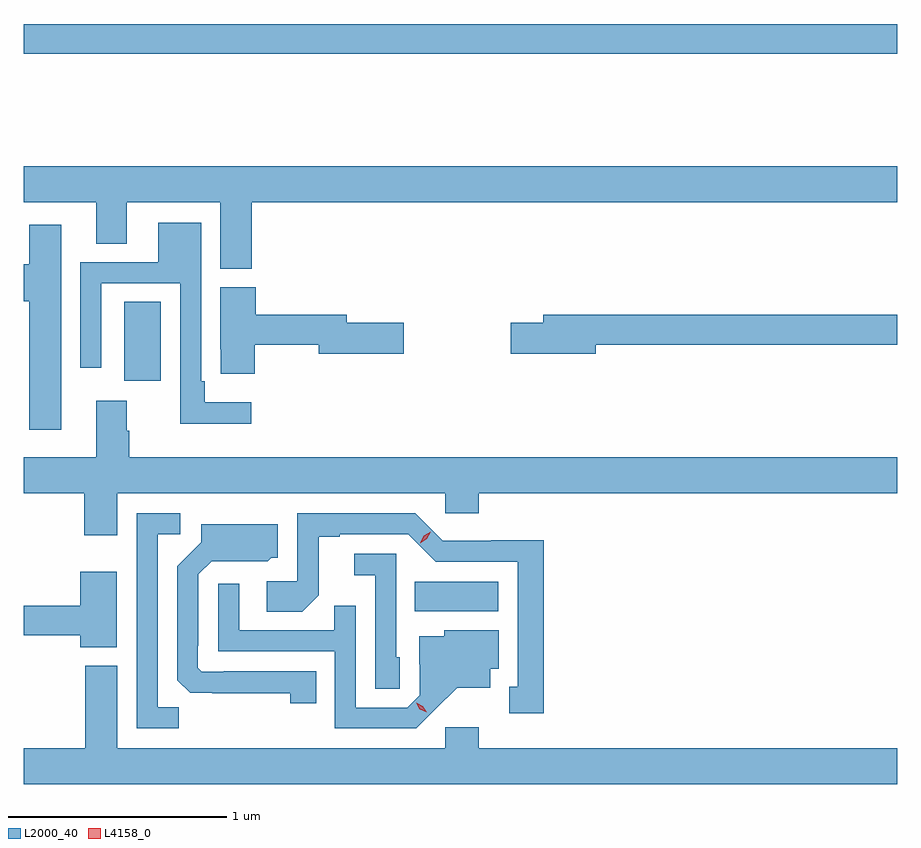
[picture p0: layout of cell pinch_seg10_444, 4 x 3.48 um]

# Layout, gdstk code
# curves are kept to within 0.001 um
import gdstk
lib = gdstk.Library(unit=1e-6, precision=1e-09)
def R(c, l, rs):  # rectangles x0, y0, x1, y1
    for r in rs: c.add(gdstk.rectangle(r[:2], r[2:], *l))
def P(c, l, *ps):  # polygons
    for p in ps: c.add(gdstk.Polygon(p, *l))
L2000_40 = (2000, 40)
L4158_0 = (4158, 0)

pinch_seg10_444 = lib.new_cell('pinch_seg10_444')
R(pinch_seg10_444, L2000_40, [(324.736,1317.092,325.117,1317.226), (323.405,1318.146,323.572,1318.508), (322.945,1319.644,326.945,1319.78)])
P(pinch_seg10_444, L2000_40, [(323.99,1318.964),(326.945,1318.964),(326.945,1319.128),(322.945,1319.128),(322.945,1318.964),(323.276,1318.964),(323.276,1318.774),(323.416,1318.774),(323.416,1318.964),(323.846,1318.964),(323.846,1318.66),(323.99,1318.66)],
  [(323.986,1318.048),(323.773,1318.048),(323.773,1318.144),(323.757,1318.144),(323.757,1318.87),(323.561,1318.87),(323.561,1318.689),(323.205,1318.689),(323.205,1318.206),(323.301,1318.206),(323.301,1318.593),(323.661,1318.593),(323.661,1317.95),(323.986,1317.95)],
  [(323.116,1318.861),(322.97,1318.861),(322.97,1318.681),(322.945,1318.681),(322.945,1318.511),(322.97,1318.511),(322.97,1317.921),(323.116,1317.921)],
  [(324.003,1318.312),(324.296,1318.312),(324.296,1318.27),(324.685,1318.27),(324.685,1318.412),(324.424,1318.412),(324.424,1318.448),(324.008,1318.448),(324.008,1318.575),(323.846,1318.575),(323.846,1318.291),(323.847,1318.291),(323.847,1318.179),(324.003,1318.179)],
  [(325.564,1318.312),(326.945,1318.312),(326.945,1318.448),(325.325,1318.448),(325.325,1318.412),(325.176,1318.412),(325.176,1318.27),(325.564,1318.27)],
  [(323.374,1317.632),(324.876,1317.632),(324.876,1317.539),(325.028,1317.539),(325.028,1317.632),(326.945,1317.632),(326.945,1317.796),(323.429,1317.796),(323.429,1317.917),(323.416,1317.917),(323.416,1318.054),(323.276,1318.054),(323.276,1317.796),(322.945,1317.796),(322.945,1317.632),(323.222,1317.632),(323.222,1317.438),(323.374,1317.438)],
  [(323.655,1316.651),(323.559,1316.651),(323.559,1317.444),(323.662,1317.444),(323.662,1317.54),(323.463,1317.54),(323.463,1316.556),(323.655,1316.556)],
  [(325.327,1317.416),(325.086,1317.416),(325.086,1317.414),(324.864,1317.414),(324.738,1317.54),(324.198,1317.54),(324.198,1317.228),(324.057,1317.228),(324.057,1317.088),(324.221,1317.088),(324.297,1317.164),(324.297,1317.432),(324.391,1317.432),(324.391,1317.444),(324.705,1317.444),(324.831,1317.318),(325.208,1317.318),(325.208,1316.745),(325.169,1316.745),(325.169,1316.625),(325.327,1316.625)],
  [(324.284,1316.817),(323.86,1316.817),(323.86,1316.814),(323.76,1316.814),(323.742,1316.832),(323.742,1316.932),(323.745,1316.932),(323.745,1317.261),(323.805,1317.321),(324.062,1317.32),(324.078,1317.336),(324.109,1317.336),(324.109,1317.49),(323.759,1317.49),(323.759,1317.408),(323.649,1317.298),(323.649,1316.776),(323.708,1316.717),(324.166,1316.716),(324.166,1316.67),(324.284,1316.67)],
  [(324.666,1316.88),(324.651,1316.88),(324.651,1317.354),(324.459,1317.354),(324.459,1317.257),(324.555,1317.257),(324.555,1316.737),(324.666,1316.737)],
  [(323.371,1317.271),(323.204,1317.271),(323.204,1317.116),(322.945,1317.116),(322.945,1316.98),(323.204,1316.98),(323.204,1316.927),(323.371,1316.927)],
  [(324.826,1316.639),(324.929,1316.741),(325.081,1316.741),(325.081,1316.828),(325.12,1316.828),(325.12,1317.004),(324.87,1317.004),(324.87,1316.977),(324.755,1316.977),(324.755,1316.848),(324.759,1316.848),(324.759,1316.706),(324.702,1316.649),(324.465,1316.649),(324.465,1317.116),(324.367,1317.116),(324.367,1317.003),(323.931,1317.003),(323.931,1317.217),(323.835,1317.217),(323.835,1316.907),(324.369,1316.907),(324.369,1316.556),(324.742,1316.556)],
  [(326.945,1316.464),(325.028,1316.464),(325.028,1316.56),(324.876,1316.56),(324.876,1316.464),(323.374,1316.464),(323.374,1316.842),(323.227,1316.842),(323.227,1316.464),(322.945,1316.464),(322.945,1316.3),(326.945,1316.3)])
P(pinch_seg10_444, L4158_0, [(324.76,1317.403),(324.76,1317.403),(324.777,1317.436),(324.808,1317.455),(324.809,1317.455),(324.809,1317.454),(324.791,1317.422),(324.76,1317.403)],
  [(324.79,1316.628),(324.759,1316.643),(324.742,1316.672),(324.742,1316.672),(324.742,1316.672),(324.773,1316.657),(324.791,1316.628),(324.791,1316.628)])

lib.write_gds('pinch_seg10_444.gds')
